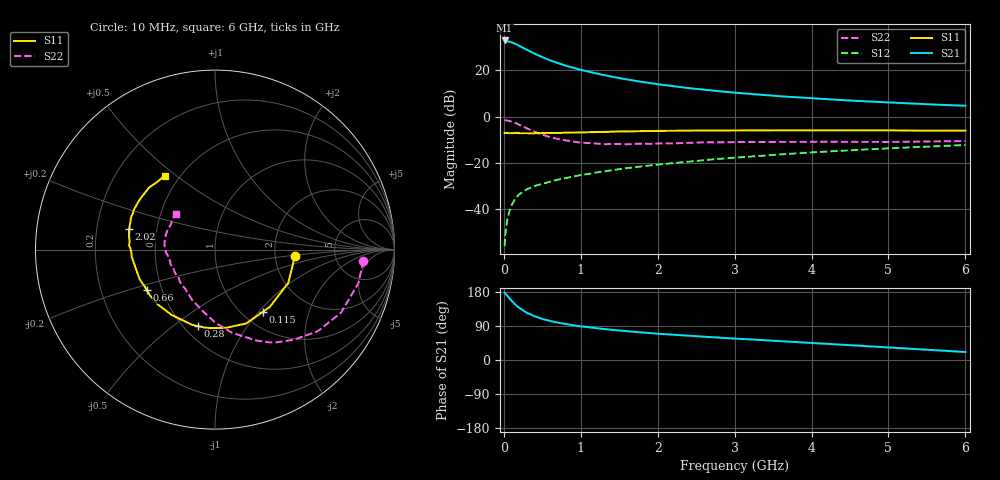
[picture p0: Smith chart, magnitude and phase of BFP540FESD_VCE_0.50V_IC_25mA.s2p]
! Infineon Technologies  Discrete & RF Semiconductors
! BFP540FESD
! VCE = 0.50 V,  IC =  25 mA
! Common Emitter S-Parameters:  Nov 2015
# GHz  S  MA  R  50
!  f  S11  S21  S12  S22
! GHz  MAG  ANG  MAG  ANG  MAG  ANG  MAG  ANG
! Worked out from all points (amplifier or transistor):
!   210 points, 10 MHz to 6 GHz, reference 50 ohm
!   highest |S21| = 32.8 dB at 10 MHz (marker M1)
!   |S21| within 3 dB of that: start of sweep to 240.2 MHz
!   unconditionally stable (mu >= 1): start of sweep to 21.05 MHz; 1.374 GHz to end of sweep
!   at 185 MHz: K = 0.39, MSG = 32.4 dB, |S12| = -34.1 dB
!   at 1.52 GHz: K = 1.02, MAG = 18.7 dB, |S12| = -22.6 dB
!   at 6 GHz: K = 1.15, MAG = 6.1 dB, |S12| = -12.3 dB
!   S11 on the Smith chart (normalised r, x): 10 MHz: 2.58, -0.22; 115 MHz: 1.23, -1.05; 280 MHz: 0.59, -0.62; 660 MHz: 0.41, -0.23; 2.02 GHz: 0.35, +0.11; 6 GHz: 0.42, +0.45
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0.01  0.445 -4.4  43.88 177.5  0.0016 94.7  0.8249 -4.6
0.02  0.4418 -11.7  42.21 175.3  0.0029 86.5  0.8287 -4.6
0.05  0.4483 -24.3  42.2 168.2  0.0065 86.1  0.8204 -13.2
0.1  0.4422 -46.3  40.15 156.4  0.0121 75.5  0.7855 -26.6
0.115  0.4373 -52.6  39.12 153.5  0.0135 74.0  0.7658 -30.0
0.15  0.4466 -67.2  37.15 146.1  0.0168 71.4  0.7312 -38.5
0.2  0.44 -81.6  33.8 137.7  0.0211 66.9  0.6673 -48.8
0.24  0.4378 -92.6  31.08 132.0  0.0232 63.1  0.6223 -56.0
0.28  0.4367 -102.3  28.65 127.0  0.0258 61.7  0.5781 -62.3
0.3  0.4383 -107.0  27.51 124.5  0.0271 61.4  0.5571 -65.5
0.4  0.437 -123.8  22.69 115.2  0.0318 57.4  0.4721 -78.6
0.5  0.4414 -136.2  19.12 108.2  0.0354 57.2  0.4074 -89.7
0.6  0.4434 -145.1  16.36 103.0  0.0394 57.8  0.3609 -98.5
0.66  0.442 -149.5  15.12 100.5  0.0418 57.2  0.3416 -103.0
0.8  0.4512 -158.6  12.61 94.9  0.0468 57.0  0.3075 -114.7
1.02  0.4557 -168.6  10 88.4  0.0554 57.8  0.2734 -128.3
1.5  0.4791 177.3  6.757 77.8  0.0736 57.1  0.2565 -152.1
2.02  0.4917 166.4  4.94 69.2  0.0927 55.6  0.2633 -168.6
3.1  0.503 152.9  3.181 55.5  0.1337 50.2  0.2826 174.2
4.1  0.5029 144.5  2.425 43.8  0.1725 43.5  0.2859 162.1
5.1  0.5022 135.3  1.984 31.8  0.2103 34.6  0.2847 149.2
6  0.4978 124.4  1.712 21.1  0.243 26.6  0.2961 137.4
